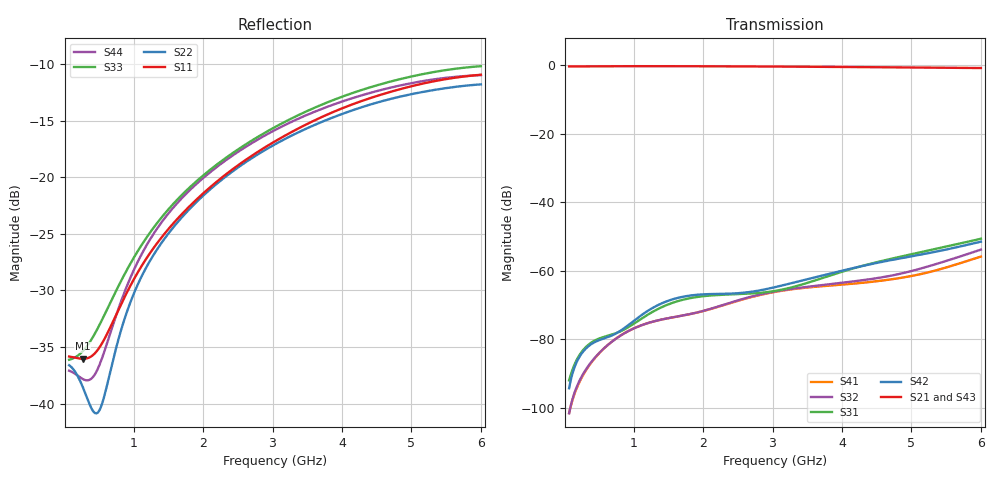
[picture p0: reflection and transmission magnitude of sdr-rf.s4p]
! agentee sdr-rf
! ports RX_SMA RX_BALUN TX_SMA TX_BALUN
# Hz S RI R 50
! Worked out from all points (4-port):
!   300 points, 70 MHz to 6 GHz, reference 50 ohm
!   strongest paths, dB at 70 MHz, 1.557 GHz, 3.045 GHz, 4.532 GHz, 6 GHz:
!     S21: -0.3, -0.2, -0.3, -0.5, -0.7
!     S43: -0.3, -0.2, -0.3, -0.5, -0.8
!     S42: -94.3, -68.4, -64.7, -57.6, -51.5
!     S31: -92.0, -69.4, -65.8, -57.3, -50.6
!     S32: -101.7, -73.6, -66.0, -62.1, -53.8
!     S41: -101.6, -73.6, -66.1, -63.0, -55.9
!   lowest |S11| = -36.0 dB at 268.3 MHz (marker M1), VSWR 1.03, Z = 51.6 + j0.36 ohm
!   |S11| at or under -10 dB: start of sweep to end of sweep
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7e7  0.0161 0.000732  0.9668 -0.0247  1.13e-05 1.17e-05  9.16e-06 -1.09e-05
     0.967 -0.0248  0.0148 1.44e-05  1.06e-05 -1.12e-05  6.84e-05 -5.4e-06
     -1.47e-05 2.03e-05  -3.34e-06 -7.56e-06  0.0155 0.00167  0.9677 -0.0256
     -4.28e-06 -7.15e-06  -1.56e-06 1.91e-05  0.9677 -0.0257  0.0139 0.00104
2.683278e8  0.0154 0.00349  0.9644 -0.0955  1.1e-05 4.43e-05  2.79e-06 -4.11e-05
            0.9643 -0.0959  0.0117 0.00125  3.59e-06 -4.22e-05  4.23e-05 -6.64e-06
            2.07e-06 6.88e-05  -4.12e-06 -3.03e-05  0.0156 0.00681  0.9643 -0.0986
            -4.22e-06 -2.93e-05  2.3e-05 6.12e-05  0.9643 -0.0988  0.0119 0.00479
5.063211e8  0.0151 0.00917  0.9556 -0.183  7.49e-06 8.31e-05  -1.47e-05 -7.44e-05
            0.9552 -0.1832  0.00609 0.00708  -1.48e-05 -7.53e-05  7.04e-06 4.05e-05
            2.31e-05 0.0001  -1.02e-05 -6.26e-05  0.017 0.0144  0.954 -0.1876
            -9.68e-06 -6.22e-05  5.46e-05 8.05e-05  0.9537 -0.1878  0.00802 0.0124
1.49796e9  0.0494 0.0322  0.8172 -0.5355  7.58e-06 0.000318  -0.000143 -0.000136
           0.8166 -0.5355  0.00991 0.0554  -0.000136 -0.000136  0.00033 0.000165
           -1.07e-06 0.000323  -0.000148 -0.00014  0.058 0.0428  0.8101 -0.5457
           -0.00015 -0.000136  0.000314 0.000186  0.8095 -0.5455  0.0181 0.0667
3.263077e9  0.1535 -0.0367  0.2784 -0.922  -3.92e-05 0.000566  -0.000545 5.49e-05
            0.2787 -0.921  0.1045 0.1107  -0.000527 4.01e-06  0.000435 -0.000485
            -3.46e-05 0.000567  -0.000542 1.77e-05  0.1777 -0.0358  0.2523 -0.9266
            -0.000532 5.12e-05  0.000441 -0.000485  0.2526 -0.9258  0.132 0.1152
4.591873e9  0.1675 -0.1623  -0.2188 -0.9169  -0.000248 0.00139  -0.000589 0.00048
            -0.2173 -0.9168  0.2072 0.0664  -0.000681 0.000345  -0.000644 -0.00119
            -0.000242 0.00139  -0.0007 0.000404  0.1886 -0.1783  -0.252 -0.9038
            -0.00058 0.00043  -0.000647 -0.0012  -0.2506 -0.9041  0.2389 0.0514
6e9  0.089 -0.2696  -0.6581 -0.6376  -0.000365 0.00295  -0.000894 0.00139
     -0.6573 -0.6406  0.2472 -0.0712  -0.00138 0.00142  -0.00249 0.000808
     -0.000368 0.00292  -0.0013 0.00157  0.0907 -0.2961  -0.6861 -0.6031
     -0.000999 0.00127  -0.00253 0.000825  -0.6856 -0.6063  0.2617 -0.1069
